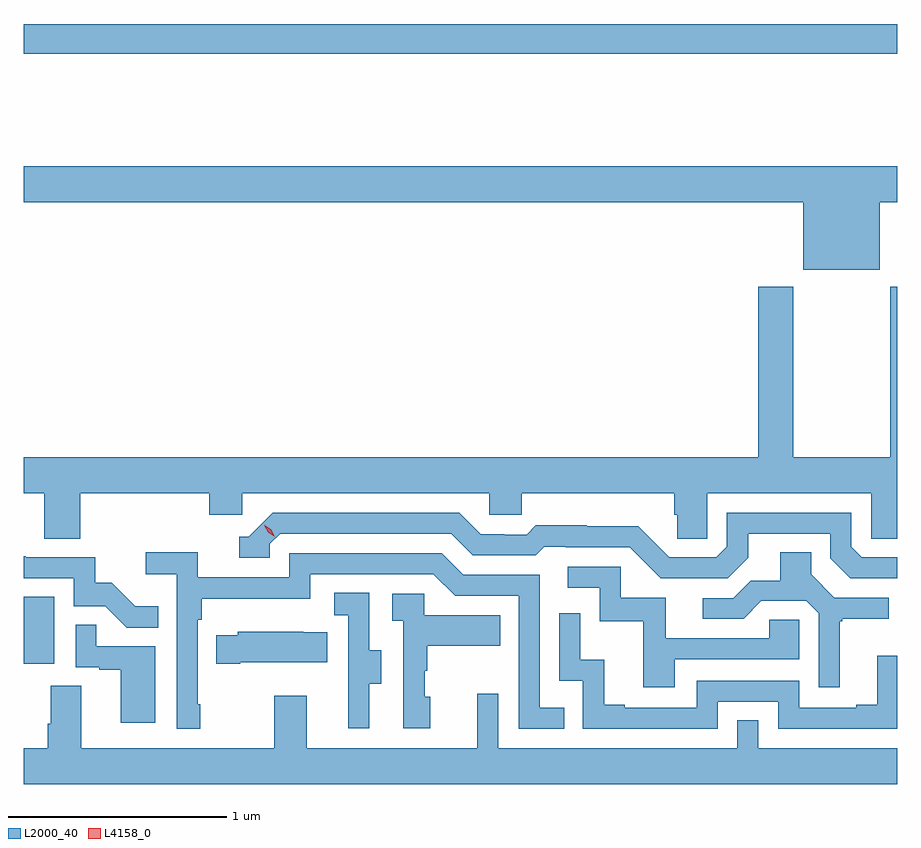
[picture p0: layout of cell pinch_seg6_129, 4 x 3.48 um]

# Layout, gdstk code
import gdstk
lib = gdstk.Library(unit=1e-6, precision=1e-09)
def R(c, l, rs):  # rectangles x0, y0, x1, y1
    for r in rs: c.add(gdstk.rectangle(r[:2], r[2:], *l))
def P(c, l, *ps):  # polygons
    for p in ps: c.add(gdstk.Polygon(p, *l))
L2000_40 = (2000, 40)
L4158_0 = (4158, 0)

pinch_seg6_129 = lib.new_cell('pinch_seg6_129')
R(pinch_seg6_129, L2000_40, [(974.312,934.566,974.452,934.873), (974.312,937.36,978.312,937.496)])
P(pinch_seg6_129, L2000_40, [(978.232,936.68),(978.312,936.68),(978.312,936.844),(974.312,936.844),(974.312,936.68),(977.882,936.68),(977.882,936.371),(978.232,936.371)],
  [(974.57,935.348),(975.161,935.348),(975.161,935.25),(975.312,935.25),(975.312,935.348),(976.443,935.348),(976.443,935.25),(976.593,935.25),(976.593,935.348),(977.291,935.348),(977.291,935.25),(977.305,935.25),(977.305,935.14),(977.442,935.14),(977.442,935.348),(978.192,935.348),(978.192,935.14),(978.312,935.14),(978.312,936.292),(978.28,936.292),(978.28,935.512),(977.835,935.512),(977.835,936.292),(977.675,936.292),(977.675,935.512),(974.312,935.512),(974.312,935.348),(974.405,935.348),(974.405,935.14),(974.57,935.14)],
  [(977.629,935.053),(977.629,935.163),(978.006,935.163),(978.006,935.049),(978.096,934.959),(978.312,934.959),(978.312,935.055),(978.15,935.055),(978.102,935.103),(978.102,935.259),(977.532,935.259),(977.532,935.103),(977.484,935.055),(977.268,935.055),(977.126,935.197),(976.89,935.197),(976.89,935.2),(976.657,935.2),(976.615,935.157),(976.512,935.157),(976.512,935.16),(976.405,935.16),(976.306,935.259),(975.453,935.259),(975.342,935.148),(975.299,935.148),(975.299,935.052),(975.438,935.052),(975.438,935.115),(975.486,935.163),(976.269,935.163),(976.368,935.064),(976.657,935.064),(976.696,935.103),(976.795,935.103),(976.795,935.1),(977.088,935.1),(977.229,934.959),(977.535,934.959)],
  [(978.049,934.761),(978.061,934.761),(978.061,934.772),(978.274,934.772),(978.274,934.869),(978.024,934.869),(977.917,934.976),(977.917,935.078),(977.777,935.078),(977.777,934.946),(977.642,934.946),(977.562,934.866),(977.421,934.866),(977.421,934.773),(977.608,934.773),(977.689,934.854),(977.895,934.854),(977.952,934.797),(977.952,934.458),(978.049,934.458)],
  [(975.121,934.381),(975.108,934.381),(975.108,934.769),(975.128,934.769),(975.128,934.865),(975.624,934.865),(975.624,934.977),(976.188,934.977),(976.287,934.878),(976.578,934.878),(976.578,934.269),(976.787,934.269),(976.787,934.365),(976.674,934.365),(976.674,934.974),(976.324,934.974),(976.225,935.073),(975.528,935.073),(975.528,934.962),(975.11,934.962),(975.11,935.078),(974.871,935.078),(974.871,934.976),(975.012,934.976),(975.012,934.269),(975.121,934.269)],
  [(974.927,934.831),(974.823,934.831),(974.716,934.938),(974.64,934.938),(974.64,935.055),(974.321,935.055),(974.321,935.06),(974.312,935.06),(974.312,934.959),(974.541,934.959),(974.541,934.83),(974.685,934.83),(974.783,934.732),(974.927,934.732)],
  [(977.293,934.587),(977.862,934.587),(977.862,934.767),(977.725,934.767),(977.725,934.683),(977.251,934.683),(977.251,934.869),(977.046,934.869),(977.046,935.01),(976.803,935.01),(976.803,934.914),(976.95,934.914),(976.95,934.761),(977.149,934.761),(977.149,934.458),(977.293,934.458)],
  [(975.895,934.474),(975.949,934.474),(975.949,934.629),(975.894,934.629),(975.894,934.892),(975.735,934.892),(975.735,934.789),(975.798,934.789),(975.798,934.485),(975.797,934.485),(975.797,934.272),(975.895,934.272)],
  [(976.174,934.416),(976.149,934.416),(976.149,934.535),(976.159,934.535),(976.159,934.649),(976.493,934.649),(976.493,934.789),(976.146,934.789),(976.146,934.887),(975.999,934.887),(975.999,934.763),(976.05,934.763),(976.05,934.272),(976.174,934.272)],
  [(977.49,934.392),(977.766,934.392),(977.766,934.269),(978.312,934.269),(978.312,934.603),(978.221,934.603),(978.221,934.378),(978.125,934.378),(978.125,934.365),(977.862,934.365),(977.862,934.488),(977.394,934.488),(977.394,934.365),(977.065,934.365),(977.065,934.378),(976.97,934.378),(976.97,934.586),(976.86,934.586),(976.86,934.798),(976.764,934.798),(976.764,934.488),(976.872,934.488),(976.872,934.269),(977.49,934.269)],
  [(974.914,934.647),(974.645,934.647),(974.645,934.745),(974.55,934.745),(974.55,934.551),(974.657,934.551),(974.657,934.539),(974.756,934.539),(974.756,934.296),(974.914,934.296)],
  [(975.304,934.574),(975.701,934.574),(975.701,934.711),(975.593,934.711),(975.593,934.714),(975.291,934.714),(975.291,934.696),(975.193,934.696),(975.193,934.567),(975.304,934.567)],
  [(978.312,934.18),(977.676,934.18),(977.676,934.307),(977.58,934.307),(977.58,934.18),(976.485,934.18),(976.485,934.429),(976.388,934.429),(976.388,934.18),(975.607,934.18),(975.607,934.42),(975.46,934.42),(975.46,934.18),(974.575,934.18),(974.575,934.466),(974.435,934.466),(974.435,934.292),(974.423,934.292),(974.423,934.18),(974.312,934.18),(974.312,934.016),(978.312,934.016)])
P(pinch_seg6_129, L4158_0, [(975.461,935.149),(975.431,935.168),(975.414,935.2),(975.414,935.201),(975.415,935.201),(975.445,935.181),(975.462,935.149),(975.462,935.149)])

lib.write_gds('pinch_seg6_129.gds')
